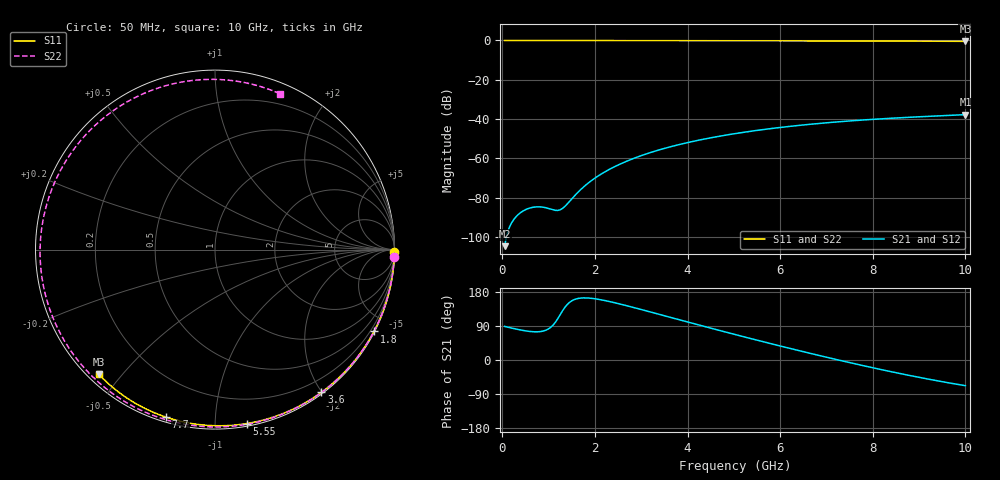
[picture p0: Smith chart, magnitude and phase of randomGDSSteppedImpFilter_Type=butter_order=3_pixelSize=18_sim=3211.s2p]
! freq	dB(S11)	phase(S11)	dB(S12)	phase(S12)
!  dB(S21)	phase(S21)	dB(S22)	phase(S22)
!S-par simulation data
#  GHz  S  DB  R 50
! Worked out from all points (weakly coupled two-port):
!   200 points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, 50 MHz to 10 GHz, reference 50 ohm
!   highest |S21| = -37.77 dB at 10 GHz (marker M1); lowest = -104.7 dB at 50 MHz (marker M2)
!   lowest |S11| = -0.4 dB at 10 GHz (marker M3), VSWR 38.62, Z = 1.54 - j21.7 ohm
!   |S11| at or under -10 dB: nowhere
!   |S22| runs from -0.5 to 0.0 dB; largest |S21 - S12| = 0
!   S11 on the Smith chart (normalised r, x): 50 MHz: open; 1.8 GHz: 0.04, -4.12; 3.6 GHz: 0.02, -1.99; 5.55 GHz: 0.02, -1.20; 7.7 GHz: 0.02, -0.75; 10 GHz: 0.03, -0.43
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0.05  -0.00 -0.8  -104.74 88.7  -104.74 88.7  -0.00 -2.2
0.35  -0.01 -5.4  -88.51 80.3  -88.51 80.3  -0.02 -15.4
0.7  -0.01 -10.7  -84.81 74.4  -84.81 74.4  -0.04 -30.4
1.1  -0.02 -16.8  -86.27 92.6  -86.27 92.6  -0.06 -47.1
1.5  -0.03 -22.8  -80.65 156.1  -80.65 156.1  -0.08 -63.0
1.55  -0.03 -23.5  -79.35 159.2  -79.35 159.2  -0.08 -65.0
1.75  -0.03 -26.5  -74.69 163.9  -74.69 163.9  -0.09 -72.5
1.8  -0.03 -27.3  -73.68 163.9  -73.68 163.9  -0.09 -74.4
2.1  -0.04 -31.7  -68.54 159.6  -68.54 159.6  -0.10 -85.2
2.45  -0.05 -36.8  -63.98 150.4  -63.98 150.4  -0.11 -97.2
2.9  -0.06 -43.4  -59.49 136.5  -59.49 136.5  -0.12 -111.7
3.4  -0.07 -50.5  -55.63 120.1  -55.63 120.1  -0.14 -126.6
3.6  -0.07 -53.3  -54.32 113.5  -54.32 113.5  -0.15 -132.3
4.3  -0.09 -63.0  -50.49 90.6  -50.49 90.6  -0.17 -151.2
5.05  -0.11 -73.0  -47.34 66.5  -47.34 66.5  -0.20 -170.1
5.55  -0.13 -79.6  -45.63 50.8  -45.63 50.8  -0.23 177.8
6.1  -0.15 -86.6  -44.03 33.9  -44.03 33.9  -0.26 164.7
6.7  -0.18 -94.1  -42.56 16.0  -42.56 16.0  -0.29 150.5
7.7  -0.24 -106.3  -40.64 -12.4  -40.64 -12.4  -0.36 126.5
8.35  -0.29 -113.9  -39.67 -29.7  -39.67 -29.7  -0.40 110.4
9.2  -0.37 -123.8  -38.64 -50.5  -38.64 -50.5  -0.46 88.7
10  -0.45 -133.0  -37.77 -67.8  -37.77 -67.8  -0.53 67.5
